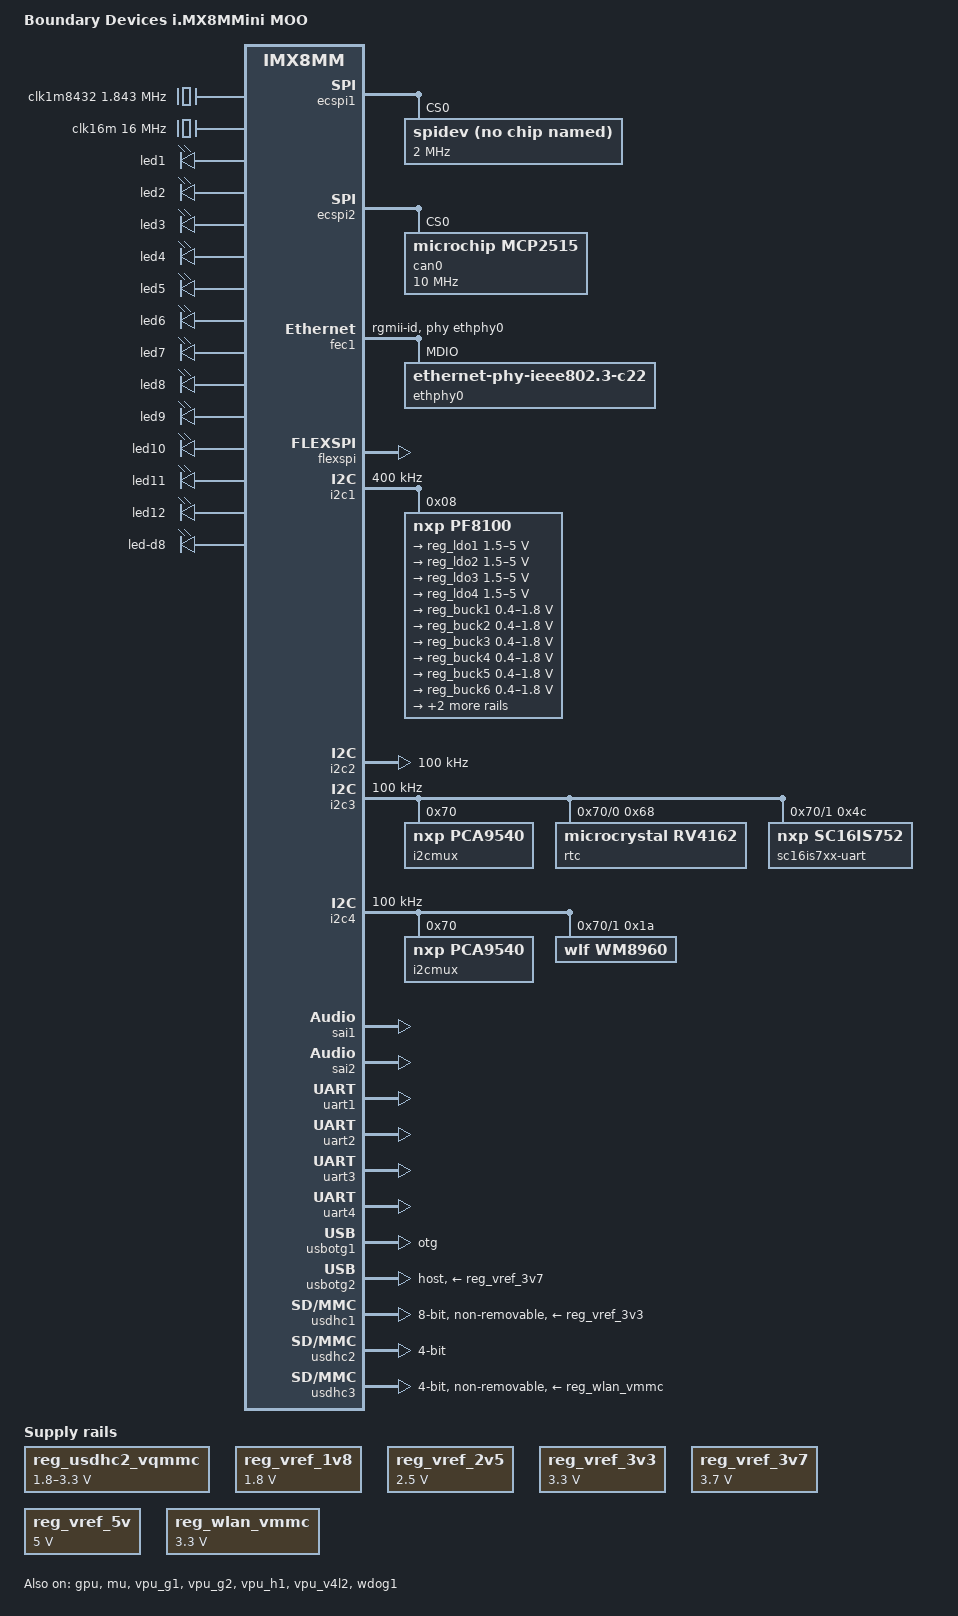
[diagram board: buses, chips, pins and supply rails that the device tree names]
// SPDX-License-Identifier: (GPL-2.0+ OR MIT)
/*
 * Copyright 2018 Boundary Devices
 */

/dts-v1/;

#include "imx8mm.dtsi"

&iomuxc {
	pinctrl-names = "default";
	pinctrl-0 = <&pinctrl_hog>;

	pinctrl_bt_rfkill: bt-rfkillgrp {
		fsl,pins = <
#define GP_BT_RFKILL_RESET	<&gpio4 27 GPIO_ACTIVE_LOW>
			MX8MM_IOMUXC_SAI2_MCLK_GPIO4_IO27		0x100
		>;
	};

	pinctrl_ecspi1: ecspi1grp {
		fsl,pins = <
			/*  J57 */
#define GP_ECSPI1_CS0	<&gpio5 9 GPIO_ACTIVE_LOW>
			MX8MM_IOMUXC_ECSPI1_SS0_GPIO5_IO9		0x140
			MX8MM_IOMUXC_ECSPI1_MISO_ECSPI1_MISO		0x19
			MX8MM_IOMUXC_ECSPI1_SCLK_ECSPI1_SCLK		0x19
			MX8MM_IOMUXC_ECSPI1_MOSI_ECSPI1_MOSI		0x19
		>;
	};

	pinctrl_ecspi2: ecspi2grp {
		fsl,pins = <
			/* U7 can controller */
#define GP_ECSPI2_CS0	<&gpio5 13 GPIO_ACTIVE_LOW>
			MX8MM_IOMUXC_ECSPI2_SS0_GPIO5_IO13		0x140
			MX8MM_IOMUXC_ECSPI2_MISO_ECSPI2_MISO		0x19
			MX8MM_IOMUXC_ECSPI2_SCLK_ECSPI2_SCLK		0x19
			MX8MM_IOMUXC_ECSPI2_MOSI_ECSPI2_MOSI		0x19
		>;
	};

	/* U7 can controller */
	pinctrl_ecspi2_mcp2515t: ecspi2-mcp2515tgrp {
		fsl,pins = <
#define GP_CAN_EN	<&gpio4 0 GPIO_ACTIVE_HIGH>
			MX8MM_IOMUXC_SAI1_RXFS_GPIO4_IO0		0x100
#define GP_CAN_ERR	<&gpio4 15 GPIO_ACTIVE_HIGH>
			MX8MM_IOMUXC_SAI1_TXD3_GPIO4_IO15		0x80
#define GPIRQ_MCP2515T	<&gpio4 14 IRQ_TYPE_LEVEL_LOW>
			MX8MM_IOMUXC_SAI1_TXD2_GPIO4_IO14		0x80
#define GP_MCP_RESET	<&gpio4 1 GPIO_ACTIVE_LOW>
			MX8MM_IOMUXC_SAI1_RXC_GPIO4_IO1			0x100
		>;
	};

	pinctrl_fec1: fec1grp {
		fsl,pins = <
			MX8MM_IOMUXC_ENET_MDC_ENET1_MDC			0x00
			/* PAD_CTL_ODE is screwy on 8mm mini, avoid it */
			MX8MM_IOMUXC_ENET_MDIO_ENET1_MDIO		0x00
			MX8MM_IOMUXC_ENET_RD0_ENET1_RGMII_RD0		0x91
			MX8MM_IOMUXC_ENET_RD1_ENET1_RGMII_RD1		0x91
			MX8MM_IOMUXC_ENET_RD2_ENET1_RGMII_RD2		0x91
			MX8MM_IOMUXC_ENET_RD3_ENET1_RGMII_RD3		0x91
			MX8MM_IOMUXC_ENET_RXC_ENET1_RGMII_RXC		0x91
			MX8MM_IOMUXC_ENET_RX_CTL_ENET1_RGMII_RX_CTL	0x91
			MX8MM_IOMUXC_ENET_TD0_ENET1_RGMII_TD0		0x1f
			MX8MM_IOMUXC_ENET_TD1_ENET1_RGMII_TD1		0x1f
			MX8MM_IOMUXC_ENET_TD2_ENET1_RGMII_TD2		0x1f
			MX8MM_IOMUXC_ENET_TD3_ENET1_RGMII_TD3		0x1f
			MX8MM_IOMUXC_ENET_TXC_ENET1_RGMII_TXC		0x1f
			MX8MM_IOMUXC_ENET_TX_CTL_ENET1_RGMII_TX_CTL	0x1f
#define GP_FEC1_RESET	<&gpio3 15 GPIO_ACTIVE_LOW>
			MX8MM_IOMUXC_NAND_RE_B_GPIO3_IO15		0x100
#define GPIRQ_FEC1_PHY	<&gpio3 16 IRQ_TYPE_LEVEL_LOW>
			MX8MM_IOMUXC_NAND_READY_B_GPIO3_IO16		0x1c0
		>;
	};

	pinctrl_flexspi: flexspigrp {
		fsl,pins = <
			MX8MM_IOMUXC_NAND_ALE_QSPI_A_SCLK		0x1c2
			MX8MM_IOMUXC_NAND_CE0_B_QSPI_A_SS0_B		0x82
			MX8MM_IOMUXC_NAND_DATA00_QSPI_A_DATA0		0x82
			MX8MM_IOMUXC_NAND_DATA01_QSPI_A_DATA1		0x82
			MX8MM_IOMUXC_NAND_DATA02_QSPI_A_DATA2		0x82
			MX8MM_IOMUXC_NAND_DATA03_QSPI_A_DATA3		0x82
		>;
	};

	pinctrl_gpio_leds: gpio-ledsgrp {
		fsl,pins = <
#define GP_GPIOLEDS_1		<&gpio3 25 GPIO_ACTIVE_HIGH>
			MX8MM_IOMUXC_SAI5_MCLK_GPIO3_IO25		0x100
#define GP_GPIOLEDS_2		<&gpio3 19 GPIO_ACTIVE_HIGH>
			MX8MM_IOMUXC_SAI5_RXFS_GPIO3_IO19		0x100
#define GP_GPIOLEDS_3		<&gpio5 0 GPIO_ACTIVE_HIGH>
			MX8MM_IOMUXC_SAI3_TXC_GPIO5_IO0			0x100
#define GP_GPIOLEDS_4		<&gpio5 3 GPIO_ACTIVE_HIGH>
			MX8MM_IOMUXC_SPDIF_TX_GPIO5_IO3			0x100
#define GP_GPIOLEDS_5		<&gpio5 4 GPIO_ACTIVE_HIGH>
			MX8MM_IOMUXC_SPDIF_RX_GPIO5_IO4			0x100
#define GP_GPIOLEDS_6		<&gpio5 5 GPIO_ACTIVE_HIGH>
			MX8MM_IOMUXC_SPDIF_EXT_CLK_GPIO5_IO5		0x100
#define GP_GPIOLEDS_7		<&gpio4 13 GPIO_ACTIVE_HIGH>
			MX8MM_IOMUXC_SAI1_TXD1_GPIO4_IO13		0x100
#define GP_GPIOLEDS_8		<&gpio4 4 GPIO_ACTIVE_HIGH>
			MX8MM_IOMUXC_SAI1_RXD2_GPIO4_IO4		0x100
#define GP_GPIOLEDS_9		<&gpio4 22 GPIO_ACTIVE_HIGH>
			MX8MM_IOMUXC_SAI2_RXC_GPIO4_IO22		0x100
#define GP_GPIOLEDS_10		<&gpio1 3 GPIO_ACTIVE_HIGH>
			MX8MM_IOMUXC_GPIO1_IO03_GPIO1_IO3		0x100
#define GP_GPIOLEDS_11		<&gpio1 5 GPIO_ACTIVE_HIGH>
			MX8MM_IOMUXC_GPIO1_IO05_GPIO1_IO5		0x100
#define GP_GPIOLEDS_12		<&gpio1 15 GPIO_ACTIVE_HIGH>
			MX8MM_IOMUXC_GPIO1_IO15_GPIO1_IO15		0x100
#define GP_GPIOLEDS_D8		<&gpio3 24 GPIO_ACTIVE_LOW>
			MX8MM_IOMUXC_SAI5_RXD3_GPIO3_IO24		0x140
                >;
        };

	pinctrl_hog: hoggrp {
		fsl,pins = <
			/* Silex, J12 pin 2 */
			MX8MM_IOMUXC_SD1_STROBE_GPIO2_IO11		0x100
			/* Silex, J12 pin 4 */
			MX8MM_IOMUXC_SAI2_RXFS_GPIO4_IO21		0x100
			/* 451-00002 - wake */
			MX8MM_IOMUXC_GPIO1_IO11_GPIO1_IO11		0x100
			/* J56 ignition sense */
			MX8MM_IOMUXC_GPIO1_IO14_GPIO1_IO14		0x180
			/* test points */
			MX8MM_IOMUXC_SAI3_TXD_SAI3_TX_DATA0		0x180	/* tp179 */
			MX8MM_IOMUXC_GPIO1_IO04_GPIO1_IO4		0x180	/* tp181 */
			MX8MM_IOMUXC_GPIO1_IO06_GPIO1_IO6		0x180	/* tp182 */
		>;
	};

	pinctrl_i2c1: i2c1grp {
		fsl,pins = <
			MX8MM_IOMUXC_I2C1_SCL_I2C1_SCL			0x400001c3
			MX8MM_IOMUXC_I2C1_SDA_I2C1_SDA			0x400001c3
		>;
	};

	pinctrl_i2c1_1: i2c1-1grp {
		fsl,pins = <
#define GP_I2C1_SCL	<&gpio5 14 GPIO_OPEN_DRAIN>
			MX8MM_IOMUXC_I2C1_SCL_GPIO5_IO14		0x400001c3
#define GP_I2C1_SDA	<&gpio5 15 GPIO_OPEN_DRAIN>
			MX8MM_IOMUXC_I2C1_SDA_GPIO5_IO15		0x400001c3
		>;
	};

	pinctrl_i2c1_pf8100: i2c1-pf8100grp {
		fsl,pins = <
#define GP_I2C1_PF8100_EWARN	<&gpio3 3 GPIO_ACTIVE_LOW>
			MX8MM_IOMUXC_NAND_CE2_B_GPIO3_IO3		0x1c0
#define GP_I2C1_PF8100_FAULT	<&gpio3 4 GPIO_ACTIVE_LOW>
			MX8MM_IOMUXC_NAND_CE3_B_GPIO3_IO4		0x1c0
		>;
	};

	pinctrl_i2c2: i2c2grp {
		fsl,pins = <
			MX8MM_IOMUXC_I2C2_SCL_I2C2_SCL			0x400001c3
			MX8MM_IOMUXC_I2C2_SDA_I2C2_SDA			0x400001c3
		>;
	};

	pinctrl_i2c2_1: i2c2-1grp {
		fsl,pins = <
#define GP_I2C2_SCL	<&gpio5 16 GPIO_OPEN_DRAIN>
			MX8MM_IOMUXC_I2C2_SCL_GPIO5_IO16		0x400001c3
#define GP_I2C2_SDA	<&gpio5 17 GPIO_OPEN_DRAIN>
			MX8MM_IOMUXC_I2C2_SDA_GPIO5_IO17		0x400001c3
		>;
	};

	pinctrl_i2c3: i2c3grp {
		fsl,pins = <
			MX8MM_IOMUXC_I2C3_SCL_I2C3_SCL			0x400001c3
			MX8MM_IOMUXC_I2C3_SDA_I2C3_SDA			0x400001c3
		>;
	};

	pinctrl_i2c3_1: i2c3-1grp {
		fsl,pins = <
#define GP_I2C3_SCL	<&gpio5 18 GPIO_OPEN_DRAIN>
			MX8MM_IOMUXC_I2C3_SCL_GPIO5_IO18		0x400001c3
#define GP_I2C3_SDA	<&gpio5 19 GPIO_OPEN_DRAIN>
			MX8MM_IOMUXC_I2C3_SDA_GPIO5_IO19		0x400001c3
		>;
	};

	pinctrl_i2c3a_rv4162: i2c3a-rv4162grp {
		fsl,pins = <
#define GPIRQ_RV4162	<&gpio3 23 IRQ_TYPE_LEVEL_LOW>
			MX8MM_IOMUXC_SAI5_RXD2_GPIO3_IO23		0x1c0
		>;
	};

	pinctrl_i2c3b_sc16is7xx: i2c3b-sc16is7xxgrp {
		fsl,pins = <
#define GPIRQ_SC16IS7XX		<&gpio4 3 IRQ_TYPE_EDGE_FALLING>
			MX8MM_IOMUXC_SAI1_RXD1_GPIO4_IO3		0x1c0
#define GP_SC16IS7XX_RESET	<&gpio4 5 GPIO_ACTIVE_LOW>
			MX8MM_IOMUXC_SAI1_RXD3_GPIO4_IO5		0x100
		>;
	};

	pinctrl_i2c4: i2c4grp {
		fsl,pins = <
			MX8MM_IOMUXC_I2C4_SCL_I2C4_SCL			0x400001c3
			MX8MM_IOMUXC_I2C4_SDA_I2C4_SDA			0x400001c3
		>;
	};

	pinctrl_i2c4_1: i2c4-1grp {
		fsl,pins = <
#define GP_I2C4_SCL	<&gpio5 20 GPIO_OPEN_DRAIN>
			MX8MM_IOMUXC_I2C4_SCL_GPIO5_IO20		0x400001c3
#define GP_I2C4_SDA	<&gpio5 21 GPIO_OPEN_DRAIN>
			MX8MM_IOMUXC_I2C4_SDA_GPIO5_IO21		0x400001c3
		>;
	};

	pinctrl_i2c4a_gyro: i2c4a-gyrogrp {
		fsl,pins = <
#define GPIRQ_GYRO		<&gpio4 6 IRQ_TYPE_LEVEL_LOW>
			MX8MM_IOMUXC_SAI1_RXD4_GPIO4_IO6		0x1c0
		>;
	};

	pinctrl_reg_usdhc2_vqmmc: reg_usdhc2_vqmmcgrp {
		fsl,pins = <
#define GP_USDHC2_VSEL	<&gpio3 2 GPIO_ACTIVE_HIGH>
			MX8MM_IOMUXC_NAND_CE1_B_GPIO3_IO2		0x100
		>;
	};

	pinctrl_reg_wlan_vmmc: reg-wlan-vmmcgrp {
		fsl,pins = <
#define GP_REG_WLAN_VMMC	<&gpio3 20 GPIO_ACTIVE_HIGH>
			MX8MM_IOMUXC_SAI5_RXC_GPIO3_IO20		0x100
		>;
	};

	pinctrl_reg_3v7: reg-3v7grp {
		fsl,pins = <
#define GP_REG_3V7_EN		<&gpio4 16 GPIO_ACTIVE_HIGH>
			MX8MM_IOMUXC_SAI1_TXD4_GPIO4_IO16		0x100
#define GP_REG_3V7_BYPASS_EN	<&gpio4 17 GPIO_ACTIVE_LOW>
			MX8MM_IOMUXC_SAI1_TXD5_GPIO4_IO17		0x140
		>;
	};

	pinctrl_reg_12v: reg-12vgrp {
		fsl,pins = <
#define GP_REG_12V_EN		<&gpio4 7 GPIO_ACTIVE_HIGH>
			MX8MM_IOMUXC_SAI1_RXD5_GPIO4_IO7		0x100
		>;
	};

	pinctrl_sai1: sai1grp {
		fsl,pins = <
			/* wm8960 */
			MX8MM_IOMUXC_SAI1_MCLK_SAI1_MCLK		0xd6
			MX8MM_IOMUXC_SAI1_TXFS_SAI1_TX_SYNC		0xd6
			MX8MM_IOMUXC_SAI1_TXC_SAI1_TX_BCLK		0xd6
			MX8MM_IOMUXC_SAI1_TXD0_SAI1_TX_DATA0		0xd6
			MX8MM_IOMUXC_SAI1_RXD0_SAI1_RX_DATA0		0xd6
		>;
	};

	pinctrl_sai2: sai2grp {
		fsl,pins = <
			/* Bluetooth PCM */
			MX8MM_IOMUXC_SAI2_TXFS_SAI2_TX_SYNC		0xd6
			MX8MM_IOMUXC_SAI2_TXC_SAI2_TX_BCLK		0xd6
			MX8MM_IOMUXC_SAI2_TXD0_SAI2_TX_DATA0		0xd6
			MX8MM_IOMUXC_SAI2_RXD0_SAI2_RX_DATA0		0xd6
		>;
	};

	pinctrl_sound_wm8960: sound-wm8960grp {
		fsl,pins = <
#define GP_WM8960_AMP_STDBY	<&gpio3 22 GPIO_ACTIVE_LOW>	/* Low is standby */
			MX8MM_IOMUXC_SAI5_RXD1_GPIO3_IO22		0x100
#define GP_WM8960_AMP_MUTE	<&gpio3 21 GPIO_ACTIVE_LOW>	/* Low is muted */
			MX8MM_IOMUXC_SAI5_RXD0_GPIO3_IO21		0x100
#define GP_WM8960_AMP_G0	<&gpio4 8 GPIO_ACTIVE_HIGH>
			MX8MM_IOMUXC_SAI1_RXD6_GPIO4_IO8		0x100
#define GP_WM8960_AMP_G1	<&gpio4 9 GPIO_ACTIVE_HIGH>
			MX8MM_IOMUXC_SAI1_RXD7_GPIO4_IO9		0x100
	/* NC */
#define GP_WM8960_MIC_DET	<&gpio1 10 GPIO_ACTIVE_HIGH>
			MX8MM_IOMUXC_GPIO1_IO10_GPIO1_IO10		0x1c0
	/* NC */
#define GP_WM8960_HP_DET	<&gpio4 28 GPIO_ACTIVE_HIGH>
			MX8MM_IOMUXC_SAI3_RXFS_GPIO4_IO28		0x1c0
		>;
	};

	pinctrl_swd: swdgrp {
		fsl,pins = <
#define GP_SWD_CLK		<&gpio5 2 GPIO_ACTIVE_HIGH>
			MX8MM_IOMUXC_SAI3_MCLK_GPIO5_IO2		0x100
#define GP_SWD_IO		<&gpio4 31 GPIO_ACTIVE_HIGH>
			MX8MM_IOMUXC_SAI3_TXFS_GPIO4_IO31		0x140
		>;
        };

	pinctrl_uart1: uart1grp {
		fsl,pins = <
			MX8MM_IOMUXC_UART1_RXD_UART1_DCE_RX		0x140
			MX8MM_IOMUXC_UART1_TXD_UART1_DCE_TX		0x140
		>;
	};

	pinctrl_uart2: uart2grp {
		fsl,pins = <
			MX8MM_IOMUXC_UART2_RXD_UART2_DCE_RX		0x140
			MX8MM_IOMUXC_UART2_TXD_UART2_DCE_TX		0x140
			MX8MM_IOMUXC_SAI3_RXC_UART2_DCE_CTS_B		0x140
			MX8MM_IOMUXC_SAI3_RXD_UART2_DCE_RTS_B		0x140
		>;
	};

	pinctrl_uart3: uart3grp {
		fsl,pins = <
			MX8MM_IOMUXC_UART3_RXD_UART3_DCE_RX		0x140
			MX8MM_IOMUXC_UART3_TXD_UART3_DCE_TX		0x140
#define GP_GPS_RESET		<&gpio1 7 GPIO_ACTIVE_HIGH>
			MX8MM_IOMUXC_GPIO1_IO07_GPIO1_IO7		0x140
#define GP_GPS_TIMEPULSE	<&gpio1 9 GPIO_ACTIVE_LOW>
			MX8MM_IOMUXC_GPIO1_IO09_GPIO1_IO9		0x1c0
#define GPIRQ_GPS_EXT		<&gpio1 8 GPIO_ACTIVE_LOW>
			MX8MM_IOMUXC_GPIO1_IO08_GPIO1_IO8		0x1c0

		>;
	};

	pinctrl_uart4: uart4grp {
		fsl,pins = <
			MX8MM_IOMUXC_UART4_RXD_UART4_DCE_RX		0x140
			MX8MM_IOMUXC_UART4_TXD_UART4_DCE_TX		0x140
#define GP_UART4_TX_EN		<&gpio4 18 GPIO_ACTIVE_HIGH>
			MX8MM_IOMUXC_SAI1_TXD6_GPIO4_IO18		0x180
		>;
	};

	pinctrl_usbotg1: usbotg1grp {
		fsl,pins = <
			MX8MM_IOMUXC_GPIO1_IO12_USB1_OTG_PWR		0x16
			MX8MM_IOMUXC_GPIO1_IO13_USB1_OTG_OC		0x156
		>;
	};

	pinctrl_usbotg2: usbotg2grp {
		fsl,pins = <
#define GP_OTG2_HUB_RESET	<&gpio4 19 GPIO_ACTIVE_LOW>
			MX8MM_IOMUXC_SAI1_TXD7_GPIO4_IO19		0x100
#define GP_MODEM_ON		<&gpio3 5 GPIO_ACTIVE_HIGH>
			MX8MM_IOMUXC_NAND_CLE_GPIO3_IO5			0x140
#define GP_MODEM_RESET		<&gpio3 14 GPIO_ACTIVE_LOW>
			MX8MM_IOMUXC_NAND_DQS_GPIO3_IO14		0x100
			/* 451-00002 - reset */
#define GP_BT_RESET		<&gpio1 1 GPIO_ACTIVE_LOW>
			MX8MM_IOMUXC_GPIO1_IO01_GPIO1_IO1		0x100
		>;
	};

	pinctrl_usdhc1: usdhc1grp {
		fsl,pins = <
			MX8MM_IOMUXC_SD1_CLK_USDHC1_CLK			0x190
			MX8MM_IOMUXC_SD1_CMD_USDHC1_CMD			0x1d0
			MX8MM_IOMUXC_SD1_DATA0_USDHC1_DATA0		0x1d0
			MX8MM_IOMUXC_SD1_DATA1_USDHC1_DATA1		0x1d0
			MX8MM_IOMUXC_SD1_DATA2_USDHC1_DATA2		0x1d0
			MX8MM_IOMUXC_SD1_DATA3_USDHC1_DATA3		0x1d0
			MX8MM_IOMUXC_SD1_DATA4_USDHC1_DATA4		0x1d0
			MX8MM_IOMUXC_SD1_DATA5_USDHC1_DATA5		0x1d0
			MX8MM_IOMUXC_SD1_DATA6_USDHC1_DATA6		0x1d0
			MX8MM_IOMUXC_SD1_DATA7_USDHC1_DATA7		0x1d0
#define GP_EMMC_RESET		<&gpio2 10 GPIO_ACTIVE_LOW>
			MX8MM_IOMUXC_SD1_RESET_B_GPIO2_IO10		0x100
		>;
	};

	pinctrl_usdhc1_100mhz: usdhc1grp100mhz {
		fsl,pins = <
			MX8MM_IOMUXC_SD1_CLK_USDHC1_CLK			0x194
			MX8MM_IOMUXC_SD1_CMD_USDHC1_CMD			0x1d4
			MX8MM_IOMUXC_SD1_DATA0_USDHC1_DATA0		0x1d4
			MX8MM_IOMUXC_SD1_DATA1_USDHC1_DATA1		0x1d4
			MX8MM_IOMUXC_SD1_DATA2_USDHC1_DATA2		0x1d4
			MX8MM_IOMUXC_SD1_DATA3_USDHC1_DATA3		0x1d4
			MX8MM_IOMUXC_SD1_DATA4_USDHC1_DATA4		0x1d4
			MX8MM_IOMUXC_SD1_DATA5_USDHC1_DATA5		0x1d4
			MX8MM_IOMUXC_SD1_DATA6_USDHC1_DATA6		0x1d4
			MX8MM_IOMUXC_SD1_DATA7_USDHC1_DATA7		0x1d4
		>;
	};

	pinctrl_usdhc1_200mhz: usdhc1grp200mhz {
		fsl,pins = <
			MX8MM_IOMUXC_SD1_CLK_USDHC1_CLK			0x196
			MX8MM_IOMUXC_SD1_CMD_USDHC1_CMD			0x1d6
			MX8MM_IOMUXC_SD1_DATA0_USDHC1_DATA0		0x1d6
			MX8MM_IOMUXC_SD1_DATA1_USDHC1_DATA1		0x1d6
			MX8MM_IOMUXC_SD1_DATA2_USDHC1_DATA2		0x1d6
			MX8MM_IOMUXC_SD1_DATA3_USDHC1_DATA3		0x1d6
			MX8MM_IOMUXC_SD1_DATA4_USDHC1_DATA4		0x1d6
			MX8MM_IOMUXC_SD1_DATA5_USDHC1_DATA5		0x1d6
			MX8MM_IOMUXC_SD1_DATA6_USDHC1_DATA6		0x1d6
			MX8MM_IOMUXC_SD1_DATA7_USDHC1_DATA7		0x1d6
		>;
	};

	pinctrl_usdhc2: usdhc2grp {
		fsl,pins = <
			MX8MM_IOMUXC_SD2_CLK_USDHC2_CLK			0x190
			MX8MM_IOMUXC_SD2_CMD_USDHC2_CMD			0x1d0
			MX8MM_IOMUXC_SD2_DATA0_USDHC2_DATA0		0x1d0
			MX8MM_IOMUXC_SD2_DATA1_USDHC2_DATA1		0x1d0
			MX8MM_IOMUXC_SD2_DATA2_USDHC2_DATA2		0x1d0
			MX8MM_IOMUXC_SD2_DATA3_USDHC2_DATA3		0x1d0
#define GP_USDHC2_CD	<&gpio2 12 GPIO_ACTIVE_LOW>
			MX8MM_IOMUXC_SD2_CD_B_GPIO2_IO12		0x1c0
			MX8MM_IOMUXC_SD2_WP_GPIO2_IO20			0x1c0
		>;
	};

	pinctrl_usdhc2_100mhz: usdhc2grp100mhz {
		fsl,pins = <
			MX8MM_IOMUXC_SD2_CLK_USDHC2_CLK			0x194
			MX8MM_IOMUXC_SD2_CMD_USDHC2_CMD			0x1d4
			MX8MM_IOMUXC_SD2_DATA0_USDHC2_DATA0		0x1d4
			MX8MM_IOMUXC_SD2_DATA1_USDHC2_DATA1		0x1d4
			MX8MM_IOMUXC_SD2_DATA2_USDHC2_DATA2		0x1d4
			MX8MM_IOMUXC_SD2_DATA3_USDHC2_DATA3		0x1d4
		>;
	};

	pinctrl_usdhc2_200mhz: usdhc2grp200mhz {
		fsl,pins = <
			MX8MM_IOMUXC_SD2_CLK_USDHC2_CLK			0x196
			MX8MM_IOMUXC_SD2_CMD_USDHC2_CMD			0x1d6
			MX8MM_IOMUXC_SD2_DATA0_USDHC2_DATA0		0x1d6
			MX8MM_IOMUXC_SD2_DATA1_USDHC2_DATA1		0x1d6
			MX8MM_IOMUXC_SD2_DATA2_USDHC2_DATA2		0x1d6
			MX8MM_IOMUXC_SD2_DATA3_USDHC2_DATA3		0x1d6
		>;
	};

	pinctrl_usdhc3: usdhc3grp {
		fsl,pins = <
			MX8MM_IOMUXC_NAND_WE_B_USDHC3_CLK		0x190
			MX8MM_IOMUXC_NAND_WP_B_USDHC3_CMD		0x1d0
			MX8MM_IOMUXC_NAND_DATA04_USDHC3_DATA0		0x1d0
			MX8MM_IOMUXC_NAND_DATA05_USDHC3_DATA1		0x1d0
			MX8MM_IOMUXC_NAND_DATA06_USDHC3_DATA2		0x1d0
			MX8MM_IOMUXC_NAND_DATA07_USDHC3_DATA3		0x1d0
			/* Bluetooth slow clock */
			MX8MM_IOMUXC_GPIO1_IO00_ANAMIX_REF_CLK_32K	0x03
		>;
	};

	pinctrl_usdhc3_100mhz: usdhc3grp100mhz {
		fsl,pins = <
			MX8MM_IOMUXC_NAND_WE_B_USDHC3_CLK		0x194
			MX8MM_IOMUXC_NAND_WP_B_USDHC3_CMD		0x1d4
			MX8MM_IOMUXC_NAND_DATA04_USDHC3_DATA0		0x1d4
			MX8MM_IOMUXC_NAND_DATA05_USDHC3_DATA1		0x1d4
			MX8MM_IOMUXC_NAND_DATA06_USDHC3_DATA2		0x1d4
			MX8MM_IOMUXC_NAND_DATA07_USDHC3_DATA3		0x1d4
		>;
	};

	pinctrl_usdhc3_200mhz: usdhc3grp200mhz {
		fsl,pins = <
			MX8MM_IOMUXC_NAND_WE_B_USDHC3_CLK		0x196
			MX8MM_IOMUXC_NAND_WP_B_USDHC3_CMD		0x1d6
			MX8MM_IOMUXC_NAND_DATA04_USDHC3_DATA0		0x1d6
			MX8MM_IOMUXC_NAND_DATA05_USDHC3_DATA1		0x1d6
			MX8MM_IOMUXC_NAND_DATA06_USDHC3_DATA2		0x1d6
			MX8MM_IOMUXC_NAND_DATA07_USDHC3_DATA3		0x1d6
		>;
	};

	pinctrl_wdog: wdoggrp {
		fsl,pins = <
			MX8MM_IOMUXC_GPIO1_IO02_WDOG1_WDOG_B		0x140
		>;
	};
};

/ {
	model = "Boundary Devices i.MX8MMini MOO";
	compatible = "boundary,imx8mm-moo", "fsl,imx8mm";

	bt-rfkill {
		compatible = "net,rfkill-gpio";
		pinctrl-names = "default";
		pinctrl-0 = <&pinctrl_bt_rfkill>;
		name = "bt-rfkill";
		type = <2>; /* Bluetooth */
		reset-gpios = GP_BT_RFKILL_RESET;
		status = "okay";
	};

	clocks {
		clk1m8432: clk1m8432 {
			compatible = "fixed-clock";
			#clock-cells = <0>;
			clock-frequency = <1843200>;
		};

		clk16m: clk16m {
			compatible = "fixed-clock";
			#clock-cells = <0>;
			clock-frequency = <16000000>;
		};
	};

	gpio_leds: leds {
		compatible = "gpio-leds";
		pinctrl-names = "default";
		pinctrl-0 = <&pinctrl_gpio_leds>;

		led1 {
			default-state = "off";
			gpios = GP_GPIOLEDS_1;
			retain-state-suspended;
		};

		led2 {
			default-state = "off";
			gpios = GP_GPIOLEDS_2;
			retain-state-suspended;
		};

		led3 {
			default-state = "off";
			gpios = GP_GPIOLEDS_3;
			retain-state-suspended;
		};

		led4 {
			default-state = "off";
			gpios = GP_GPIOLEDS_4;
			retain-state-suspended;
		};

		led5 {
			default-state = "off";
			gpios = GP_GPIOLEDS_5;
			retain-state-suspended;
		};

		led6 {
			default-state = "off";
			gpios = GP_GPIOLEDS_6;
			retain-state-suspended;
		};

		led7 {
			default-state = "off";
			gpios = GP_GPIOLEDS_7;
			retain-state-suspended;
		};

		led8 {
			default-state = "off";
			gpios = GP_GPIOLEDS_8;
			retain-state-suspended;
		};

		led9 {
			default-state = "off";
			gpios = GP_GPIOLEDS_9;
			retain-state-suspended;
		};

		led10 {
			default-state = "off";
			gpios = GP_GPIOLEDS_10;
			retain-state-suspended;
		};

		led11 {
			default-state = "off";
			gpios = GP_GPIOLEDS_11;
			retain-state-suspended;
		};

		led12 {
			default-state = "off";
			gpios = GP_GPIOLEDS_12;
			retain-state-suspended;
		};

		led-d8 {
			default-state = "off";
			gpios = GP_GPIOLEDS_D8;
			retain-state-suspended;
		};
	};

	reg_usdhc2_vqmmc: regulator-usdhc2-vqmmc {
		compatible = "regulator-gpio";
		pinctrl-names = "default";
		pinctrl-0 = <&pinctrl_reg_usdhc2_vqmmc>;
		regulator-name = "reg_sd2_vsel";
		regulator-min-microvolt = <1800000>;
		regulator-max-microvolt = <3300000>;
		regulator-type = "voltage";
		regulator-boot-on;
		regulator-always-on;
		gpios = GP_USDHC2_VSEL;
		states = <1800000 0x1
			  3300000 0x0>;
	};

	reg_vref_1v8: regulator-vref-1v8 {
		compatible = "regulator-fixed";
		regulator-name = "vref-1v8";
		regulator-min-microvolt = <1800000>;
		regulator-max-microvolt = <1800000>;
	};

	reg_vref_2v5: regulator-vref-2v5 {
		compatible = "regulator-fixed";
		regulator-name = "vref-2v5";
		regulator-min-microvolt = <2500000>;
		regulator-max-microvolt = <2500000>;
	};

	reg_vref_3v3: regulator-vref-3v3 {
		compatible = "regulator-fixed";
		regulator-name = "vref-3v3";
		regulator-min-microvolt = <3300000>;
		regulator-max-microvolt = <3300000>;
	};

	reg_vref_3v7: regulator-vref-3v7 {
		compatible = "regulator-fixed";
		pinctrl-names = "default";
		pinctrl-0 = <&pinctrl_reg_3v7>;
		regulator-name = "vref-3v7";
		regulator-min-microvolt = <3700000>;
		regulator-max-microvolt = <3700000>;
		gpio = GP_REG_3V7_EN;
		startup-delay-us = <70000>;
		enable-active-high;
	};

	reg_vref_5v: regulator-vref-5v {
		compatible = "regulator-fixed";
		regulator-name = "vref-5v";
		regulator-min-microvolt = <5000000>;
		regulator-max-microvolt = <5000000>;
	};

	reg_wlan_vmmc: regulator-wlan-vmmc {
		compatible = "regulator-fixed";
		pinctrl-names = "default";
		pinctrl-0 = <&pinctrl_reg_wlan_vmmc>;
		regulator-name = "reg_wlan_vmmc";
		regulator-min-microvolt = <3300000>;
		regulator-max-microvolt = <3300000>;
		gpio = GP_REG_WLAN_VMMC;
		startup-delay-us = <70000>;
		enable-active-high;
	};

	sound-wm8960 {
		amp-gain-gpios = GP_WM8960_AMP_G0, GP_WM8960_AMP_G1;
		/* amp-gain-seq = /bits/ 8 <0 1 2 3>; */ /* default */
		amp-mute-gpios = GP_WM8960_AMP_MUTE;
		/* delay between mute and standby enter */
		amp-standby-enter-wait-ms = <50>;
		/* delay between standby exit and unmute */
		amp-standby-exit-delay-ms = <100>;
		amp-standby-gpios = GP_WM8960_AMP_STDBY;
		audio-codec = <&wm8960>;
		audio-cpu = <&sai1>;
		audio-routing =
			"Ext Spk", "HP_L",
			"Ext Spk", "HP_R",
			"LINPUT1", "Main MIC",
			"Main MIC", "MICB";
		codec-master;
		compatible = "fsl,imx-audio-wm8960";
		model = "wm8960-audio";
		pinctrl-names = "default";
		pinctrl-0 = <&pinctrl_sound_wm8960>;
	};
};

&A53_0 {
	cpu-supply = <&reg_buck3>;
};

&ecspi1 {
	pinctrl-names = "default";
	pinctrl-0 = <&pinctrl_ecspi1>;
	fsl,spi-num-chipselects = <1>;
	cs-gpios = GP_ECSPI1_CS0;
	status = "okay";
	#address-cells = <1>;
	#size-cells = <0>;

	spidev@0 {
		compatible = "spidev";
		spi-max-frequency = <2000000>;
		reg = <0>;
	};
};

&ecspi2 {
	pinctrl-names = "default";
	pinctrl-0 = <&pinctrl_ecspi2>;
	fsl,spi-num-chipselects = <1>;
	cs-gpios = GP_ECSPI2_CS0;
	status = "okay";
	#address-cells = <1>;
	#size-cells = <0>;

	can0: can@0 {
		clocks = <&clk16m>;
		compatible = "microchip,mcp2515";
		interrupts-extended = GPIRQ_MCP2515T;
		pinctrl-names = "default";
		pinctrl-0 = <&pinctrl_ecspi2_mcp2515t>;
		reg = <0>;
		reset-gpios = GP_MCP_RESET;
		spi-max-frequency = <10000000>;
		xceiver-gpios = GP_CAN_EN;
	};
};

&fec1 {
	pinctrl-names = "default";
	pinctrl-0 = <&pinctrl_fec1>;
#if 0
	phy-reset-gpios = GP_FEC1_RESET;
#endif
	phy-mode = "rgmii-id";
	phy-handle = <&ethphy0>;
	fsl,magic-packet;
	status = "okay";

	mdio {
		#address-cells = <1>;
		#size-cells = <0>;

		ethphy0: ethernet-phy {
			compatible = "ethernet-phy-ieee802.3-c22";
			interrupts-extended = GPIRQ_FEC1_PHY;
			reg-mask = <0x90>;
		};
	};
};

&flexspi {
	pinctrl-names = "default";
	pinctrl-0 = <&pinctrl_flexspi>;
	status = "okay";
};

&gpu {
	status = "okay";
};

&i2c1 {
	clock-frequency = <400000>;
	pinctrl-names = "default", "gpio";
	pinctrl-0 = <&pinctrl_i2c1>;
	pinctrl-1 = <&pinctrl_i2c1_1>;
	scl-gpios = GP_I2C1_SCL;
	sda-gpios = GP_I2C1_SDA;
	status = "okay";

	pf8100@8 {
		compatible = "nxp,pf8100";
		pinctrl-names = "default";
		pinctrl-0 = <&pinctrl_i2c1_pf8100>;
		reg = <0x08>;

		regulators {
			reg_ldo1: ldo1 {
				regulator-always-on;
				regulator-boot-on;
				regulator-max-microvolt = <5000000>;
				regulator-min-microvolt = <1500000>;
			};

			reg_ldo2: ldo2 {
				regulator-always-on;
				regulator-boot-on;
				regulator-max-microvolt = <5000000>;
				regulator-min-microvolt = <1500000>;
#if 0
				/* vselect low is 3.3V, high is 1.8V */
				vselect-en;
#endif
			};

			reg_ldo3: ldo3 {
				regulator-always-on;
				regulator-boot-on;
				regulator-max-microvolt = <5000000>;
				regulator-min-microvolt = <1500000>;
			};

			reg_ldo4: ldo4 {
				regulator-always-on;
				regulator-boot-on;
				regulator-max-microvolt = <5000000>;
				regulator-min-microvolt = <1500000>;
			};

			reg_buck1: buck1 {
				nxp,phase-shift = <0>;
				regulator-max-microamp = <4500000>;
				regulator-always-on;
				regulator-boot-on;
				regulator-max-microvolt = <1800000>;
				regulator-min-microvolt =  <400000>;
			};

			reg_buck2: buck2 {
				regulator-always-on;
				regulator-boot-on;
				regulator-max-microvolt = <1800000>;
				regulator-min-microvolt =  <400000>;
			};

			reg_buck3: buck3 {
				regulator-always-on;
				regulator-boot-on;
				regulator-max-microvolt = <1800000>;
				regulator-min-microvolt =  <400000>;
			};

			reg_buck4: buck4 {
				regulator-always-on;
				regulator-boot-on;
				regulator-max-microvolt = <1800000>;
				regulator-min-microvolt =  <400000>;
			};

			reg_buck5: buck5 {
				regulator-always-on;
				regulator-boot-on;
				regulator-max-microvolt = <1800000>;
				regulator-min-microvolt =  <400000>;
			};

			reg_buck6: buck6 {
				regulator-always-on;
				regulator-boot-on;
				regulator-max-microvolt = <1800000>;
				regulator-min-microvolt =  <400000>;
			};

			reg_buck7: buck7 {
				regulator-always-on;
				regulator-boot-on;
				regulator-max-microvolt = <4100000>;
				regulator-min-microvolt = <1000000>;
			};

			reg_vsnvs: vsnvs {
				regulator-always-on;
				regulator-boot-on;
				regulator-max-microvolt = <3300000>;
				regulator-min-microvolt = <1800000>;
			};
		};
	};
};

&i2c2 {
	clock-frequency = <100000>;
	pinctrl-names = "default", "gpio";
	pinctrl-0 = <&pinctrl_i2c2>;
	pinctrl-1 = <&pinctrl_i2c2_1>;
	scl-gpios = GP_I2C2_SCL;
	sda-gpios = GP_I2C2_SDA;
	status = "okay";
};

&i2c3 {
	clock-frequency = <100000>;
	pinctrl-names = "default", "gpio";
	pinctrl-0 = <&pinctrl_i2c3>;
	pinctrl-1 = <&pinctrl_i2c3_1>;
	scl-gpios = GP_I2C3_SCL;
	sda-gpios = GP_I2C3_SDA;
	status = "okay";

	i2cmux@70 {
		compatible = "nxp,pca9540";
		reg = <0x70>;
		#address-cells = <1>;
		#size-cells = <0>;

		i2c3a: i2c3@0 {
			reg = <0>;
			#address-cells = <1>;
			#size-cells = <0>;
		};

		i2c3b: i2c3@1 {
			reg = <1>;
			#address-cells = <1>;
			#size-cells = <0>;
		};
	};
};

&i2c3a {
	rtc@68 {
		compatible = "microcrystal,rv4162";
		pinctrl-names = "default";
		pinctrl-0 = <&pinctrl_i2c3a_rv4162>;
		reg = <0x68>;
		interrupts-extended = GPIRQ_RV4162;
		wakeup-source;
	};
};

&i2c3b {
	sc16is7xx-uart@4c {
		clocks = <&clk1m8432>;
		compatible = "nxp,sc16is752";
		pinctrl-names = "default";
		pinctrl-0 = <&pinctrl_i2c3b_sc16is7xx>;
		reg = <0x4c>;
		reset-gpios = GP_SC16IS7XX_RESET;
		interrupts-extended = GPIRQ_SC16IS7XX;
	};
};

&i2c4 {
	clock-frequency = <100000>;
	pinctrl-names = "default", "gpio";
	pinctrl-0 = <&pinctrl_i2c4>;
	pinctrl-1 = <&pinctrl_i2c4_1>;
	scl-gpios = GP_I2C4_SCL;
	sda-gpios = GP_I2C4_SDA;
	status = "okay";

	i2cmux@70 {
		compatible = "nxp,pca9540";
		reg = <0x70>;
		#address-cells = <1>;
		#size-cells = <0>;

		i2c4a: i2c3@0 {
			reg = <0>;
			#address-cells = <1>;
			#size-cells = <0>;
		};

		i2c4b: i2c3@1 {
			reg = <1>;
			#address-cells = <1>;
			#size-cells = <0>;
		};
	};
};

&i2c4a {
	/* Gyro */
};

&i2c4b {
	wm8960: codec@1a {
		clock-names = "mclk";
		clocks = <&clk IMX8MM_CLK_SAI1_ROOT>;
		compatible = "wlf,wm8960";
		reg = <0x1a>;
		wlf,gpio-cfg = <1 3>;
		wlf,shared-lrclk;
	};
};

&mu {
	status = "okay";
};

&sai1 {
	assigned-clocks = <&clk IMX8MM_AUDIO_PLL1>, <&clk IMX8MM_AUDIO_PLL2>, <&clk IMX8MM_CLK_SAI1>;
	assigned-clock-parents = <0>, <0>, <&clk IMX8MM_AUDIO_PLL1_OUT>;
	assigned-clock-rates = <786432000>, <722534400>, <12288000>;
	pinctrl-names = "default";
	pinctrl-0 = <&pinctrl_sai1>;
	status = "okay";
};

&sai2 {
	pinctrl-names = "default";
	pinctrl-0 = <&pinctrl_sai2>;
	status = "okay";
};

&uart1 { /* J56 - console also */
	pinctrl-names = "default";
	pinctrl-0 = <&pinctrl_uart1>;
	assigned-clocks = <&clk IMX8MM_CLK_UART1>;
	assigned-clock-parents = <&clk IMX8MM_CLK_24M>;
	status = "okay";
};

&uart2 { /* Silex */
	pinctrl-names = "default";
	pinctrl-0 = <&pinctrl_uart2>;
	assigned-clocks = <&clk IMX8MM_CLK_UART2>;
	assigned-clock-parents = <&clk IMX8MM_SYS_PLL1_80M>;
	uart-has-rtscts;
	status = "okay";
};

&uart3 { /* GPS */
	pinctrl-names = "default";
	pinctrl-0 = <&pinctrl_uart3>;
	assigned-clocks = <&clk IMX8MM_CLK_UART3>;
	assigned-clock-parents = <&clk IMX8MM_SYS_PLL1_80M>;
	status = "okay";
};

&uart4 { /* J56 - RS485*/
	assigned-clocks = <&clk IMX8MM_CLK_UART4>;
	assigned-clock-parents = <&clk IMX8MM_CLK_24M>;
        control-gpios = GP_UART4_TX_EN;
#define M_TX_EN         1
        off_levels = <0>;
	pinctrl-names = "default";
	pinctrl-0 = <&pinctrl_uart4>;
        rs485_levels = <0x0>;
        linux,rs485-enabled-at-boot-time;
        rs485_txen_levels = <M_TX_EN>;
        rs485_txen_mask = <M_TX_EN>;
	status = "okay";
        uart-has-rs485-half-duplex;
};

&usbotg1 {
	dr_mode = "otg";
	over-current-active-low;
	pinctrl-names = "default";
	pinctrl-0 = <&pinctrl_usbotg1>;
	power-active-high;
	status = "okay";
};

&usbotg2 {
	disable-over-current;
	dr_mode = "host";
	pinctrl-names = "default";
	pinctrl-0 = <&pinctrl_usbotg2>;
	power-active-high;
	reset-gpios = GP_OTG2_HUB_RESET, GP_MODEM_ON, GP_MODEM_RESET, GP_BT_RESET;
	vbus-supply = <&reg_vref_3v7>;
	status = "okay";
};

&usdhc1 {
	bus-width = <8>;
	no-mmc-hs400;
	non-removable;
	pinctrl-names = "default", "state_100mhz", "state_200mhz";
	pinctrl-0 = <&pinctrl_usdhc1>;
	pinctrl-1 = <&pinctrl_usdhc1_100mhz>;
	pinctrl-2 = <&pinctrl_usdhc1_200mhz>;
	status = "okay";
	vmmc-supply = <&reg_vref_3v3>;
	vqmmc-1-8-v;
	vqmmc-supply = <&reg_vref_1v8>;
};

&usdhc2 {
	bus-width = <4>;
	cd-gpios = GP_USDHC2_CD;
	pinctrl-names = "default", "state_100mhz", "state_200mhz";
	pinctrl-0 = <&pinctrl_usdhc2>;
	pinctrl-1 = <&pinctrl_usdhc2_100mhz>;
	pinctrl-2 = <&pinctrl_usdhc2_200mhz>;
	status = "okay";
#if 0
	vqmmc-supply = <&reg_usdhc2_vqmmc>;
#else
	vqmmc-supply = <&reg_ldo2>;
#endif
};

&usdhc3 {
	bus-width = <4>;
	fsl,sdio-async-interrupt-enabled;
	keep-power-in-suspend;
	no-sd-uhs-sdr104;
	non-removable;
	pinctrl-names = "default", "state_100mhz", "state_200mhz";
	pinctrl-0 = <&pinctrl_usdhc3>;
	pinctrl-1 = <&pinctrl_usdhc3_100mhz>;
	pinctrl-2 = <&pinctrl_usdhc3_200mhz>;
	pm-ignore-notify;
	status = "okay";
	vmmc-supply = <&reg_wlan_vmmc>;
	vqmmc-1-8-v;
	vqmmc-supply = <&reg_vref_1v8>;
};

&vpu_g1 {
	status = "okay";
};

&vpu_g2 {
	status = "okay";
};

&vpu_h1 {
	status = "okay";
};

&vpumix_pd {
	dvfs-supply = <&reg_buck5>;
	idle-microvolt = <850000 805000 900000>;
};

&vpu_v4l2 {
	status = "okay";
};

&wdog1 {
	pinctrl-names = "default";
	pinctrl-0 = <&pinctrl_wdog>;
	fsl,ext-reset-output;
	status = "okay";
};
